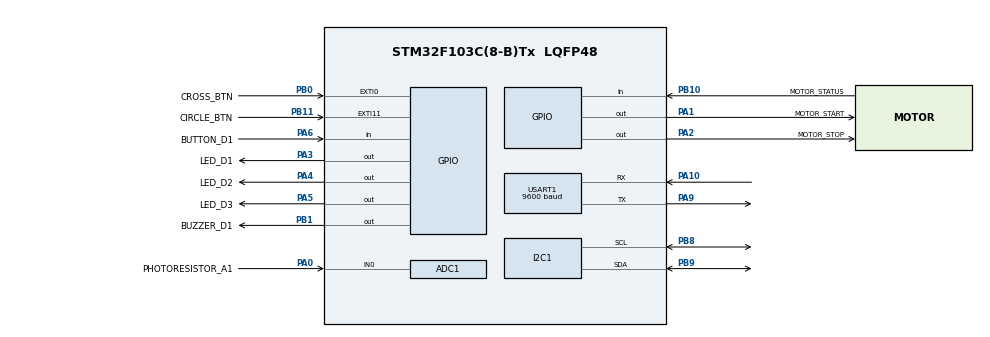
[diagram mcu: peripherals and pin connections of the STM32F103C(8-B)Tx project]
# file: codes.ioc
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ADC1.Channel-0\#ChannelRegularConversion=ADC_CHANNEL_0
ADC1.NbrOfConversionFlag=1
ADC1.Rank-0\#ChannelRegularConversion=1
ADC1.SamplingTime-0\#ChannelRegularConversion=ADC_SAMPLETIME_1CYCLE_5
ADC1.master=1
FREERTOS.Tasks01=AeratorsTask,24,128,StartAeratorsTask,Default,NULL,Dynamic,NULL,NULL;DisplayTask,8,128,StartDisplayTask,Default,NULL,Dynamic,NULL,NULL;WiFiTask,8,128,StartWiFiTask,Default,NULL,Dynamic,NULL,NULL;ButtonsTask,8,128,StartButtonsTask,Default,NULL,Dynamic,NULL,NULL
FREERTOS.configTOTAL_HEAP_SIZE=3000
I2C1.I2C_Mode=I2C_Fast
Mcu.Family=STM32F1
Mcu.Name=STM32F103C(8-B)Tx
Mcu.Package=LQFP48
NVIC.EXTI0_IRQn=true\:5\:0\:false\:false\:true\:true\:true\:true
NVIC.EXTI15_10_IRQn=true\:5\:0\:false\:false\:true\:true\:true\:true
NVIC.PriorityGroup=NVIC_PRIORITYGROUP_4
NVIC.TIM1_BRK_IRQn=true\:5\:0\:false\:false\:true\:true\:true\:true
NVIC.TIM1_UP_IRQn=true\:5\:0\:false\:false\:true\:true\:true\:true
NVIC.TIM4_IRQn=true\:0\:0\:false\:false\:true\:false\:false\:true
NVIC.TimeBase=TIM4_IRQn
NVIC.TimeBaseIP=TIM4
PA0-WKUP.GPIO_Label=PHOTORESISTOR_A1
PA0-WKUP.Signal=ADCx_IN0
PA1.GPIO_Label=MOTOR_START
PA1.Signal=GPIO_Output
PA10.Mode=Asynchronous
PA10.Signal=USART1_RX
PA13.Mode=Serial_Wire
PA13.Signal=SYS_JTMS-SWDIO
PA14.Mode=Serial_Wire
PA14.Signal=SYS_JTCK-SWCLK
PA2.GPIO_Label=MOTOR_STOP
PA2.Signal=GPIO_Output
PA3.GPIO_Label=LED_D1
PA3.Signal=GPIO_Output
PA4.GPIO_Label=LED_D2
PA4.Signal=GPIO_Output
PA5.GPIO_Label=LED_D3
PA5.Signal=GPIO_Output
PA6.GPIO_Label=BUTTON_D1
PA6.GPIO_PuPd=GPIO_PULLDOWN
PA6.Signal=GPIO_Input
PA9.Mode=Asynchronous
PA9.Signal=USART1_TX
PB0.GPIO_Label=CROSS_BTN
PB0.GPIO_PuPd=GPIO_PULLDOWN
PB0.Signal=GPXTI0
PB1.GPIO_Label=BUZZER_D1
PB1.Signal=GPIO_Output
PB10.GPIO_Label=MOTOR_STATUS
PB10.GPIO_PuPd=GPIO_PULLDOWN
PB10.Signal=GPIO_Input
PB11.GPIO_Label=CIRCLE_BTN
PB11.GPIO_PuPd=GPIO_PULLDOWN
PB11.Signal=GPXTI11
PB8.Mode=I2C
PB8.Signal=I2C1_SCL
PB9.Mode=I2C
PB9.Signal=I2C1_SDA
PC14-OSC32_IN.Mode=LSE-External-Oscillator
PC14-OSC32_IN.Signal=RCC_OSC32_IN
PC15-OSC32_OUT.Mode=LSE-External-Oscillator
PC15-OSC32_OUT.Signal=RCC_OSC32_OUT
PD0-OSC_IN.Mode=HSE-External-Oscillator
PD0-OSC_IN.Signal=RCC_OSC_IN
PD1-OSC_OUT.Mode=HSE-External-Oscillator
PD1-OSC_OUT.Signal=RCC_OSC_OUT
ProjectManager.HeapSize=0x200
ProjectManager.StackSize=0x400
ProjectManager.TargetToolchain=SW4STM32
RCC.APB1Freq_Value=8000000
RCC.APB2Freq_Value=8000000
SH.ADCx_IN0.0=ADC1_IN0,IN0
TIM1.Period=9999
TIM1.Prescaler=799
USART1.BaudRate=9600
USART1.VirtualMode=VM_ASYNC
VP_FREERTOS_VS_CMSIS_V2.Mode=CMSIS_V2
VP_SYS_VS_tim4.Mode=TIM4
VP_TIM1_VS_ClockSourceINT.Mode=Internal
board=custom

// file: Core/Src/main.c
/* USER CODE BEGIN Header */
/*
 * main.c
 * Copyright (C) Jo�o Melga <joaolucasfm@gmail.com>
 *
 * Version 1.0
 *
 * This software controls an STM32f103c8t6 microcontroller manage
 * aerators engines according to luminosity and print messages via
 * UART.
 *
 * This program is free software; you can redistribute it and/or modify
 * it under the terms of the GNU General Public License as published by
 * the Free Software Foundation; either version 2 of the Licence, or
 * (at your option) any later version.
 *
 * This program is distributed in the hope that it will be useful,
 * but WITHOUT ANY WARRANTY; without even the implied warranty of
 * MERCHANTABILITY or FITNESS FOR A PARTICULAR PURPOSE. Se the
 * GNU General Public Licence for more details.
 *
 * Created on: feb-03-2020
 *
 * This software is designed to run under STM32 System Workbench IDE + CubeMX.
 */
/* USER CODE END Header */
#include "main.h"
#include "cmsis_os.h"

/* USER CODE BEGIN Includes */
#include "eeprom.h"
#include "ssd1306.h"
#include "fonts.h"

#define ADC_RESOLUTION 3.3/4095 // 3.3 VCC divided by 2^12 = 4096, because ADC has 12bits
#define DEAFULT_LUMINOSITY_TRIGGER 3000
#define LDR_RESISTENCE_TRIGGER 5000 // Resistence in Ohms
#define MAX_MSG_GAP 750000 // 15 minutes
#define MIN_MSG_GAP 7500 // 7,5 seconds
#define ANIMATION_GAP 200
#define MOTOR_TOGGLE_MAX_TIME 3000 // 3 seconds
#define MOTOR_TOGGLE_DELAY 5000 // 5 seconds

#define ICONS_X 40
#define ICONS_Y 34
#define TEXT_Y 18

#define ERROR_STATE 0
#define MOTOR_ON_STATE 1
#define MOTOR_OFF_STATE 2
#define MOTOR_SWITCHING_ON_STATE 3
#define MOTOR_SWITCHING_OFF_STATE 4
#define MOTOR_SWITCHING_VERIFYING_STATE 5
#define BOOTING_STATE 6

#define NO_MSG 0
#define MOTOR_ON_AUTO_MSG 1
#define MOTOR_OFF_AUTO_MSG 2
#define MOTOR_ON_MANUALY_MSG 3
#define MOTOR_OFF_MANUALY_MSG 4
#define MOTOR_ERROR_MSG 5
#define AUTOMATIC_MODE_ON_MSG 6
#define AUTOMATIC_MODE_OFF_MSG 7
#define BOOTING_MSG 8

#define AERATOR_ICON 0
#define LIGHT_ICON 1
#define STARTER_ICON 2
#define RAY_ICON 3
#define PROPELLER_1_ICON 4
#define PROPELLER_2_ICON 5

#define CIRCLE_BTN 0
#define CROSS_BTN 1

#define DASHBOARD_VIEW 0
#define SETTINGS_VIEW 1

#define DISPLAY_ARROW_POSITIONS 4
#define NUMBER_OF_SETTINGS 5

/* USER CODE END Includes */

ADC_HandleTypeDef hadc1;

I2C_HandleTypeDef hi2c1;

TIM_HandleTypeDef htim1;

UART_HandleTypeDef huart1;

/* Definitions for AeratorsTask */
osThreadId_t AeratorsTaskHandle;
const osThreadAttr_t AeratorsTask_attributes = { .name = "AeratorsTask",
    .priority = (osPriority_t) osPriorityNormal, .stack_size = 128 * 4 };
/* Definitions for DisplayTask */
osThreadId_t DisplayTaskHandle;
const osThreadAttr_t DisplayTask_attributes = { .name = "DisplayTask",
    .priority = (osPriority_t) osPriorityLow, .stack_size = 128 * 4 };
/* Definitions for WiFiTask */
osThreadId_t WiFiTaskHandle;
const osThreadAttr_t WiFiTask_attributes = { .name = "WiFiTask", .priority =
    (osPriority_t) osPriorityLow, .stack_size = 128 * 4 };
/* Definitions for ButtonsTask */
osThreadId_t ButtonsTaskHandle;
const osThreadAttr_t ButtonsTask_attributes = { .name = "ButtonsTask",
    .priority = (osPriority_t) osPriorityLow, .stack_size = 128 * 4 };

/* USER CODE BEGIN PV */

/* Virtual address defined by the user: 0xFFFF value is prohibited */
uint16_t VirtAddVarTab[NB_OF_VAR] = { 0x5555 };
float relativeLuminosity = 0;
uint32_t ldrResistence = 0;
uint16_t luminosityTrigger = LDR_RESISTENCE_TRIGGER;
uint8_t motorVoltageDetected, automaticModeEnabled = 1, messageType =
BOOTING_MSG;
GPIO_PinState lowLuminosityDetected;

uint8_t state = 0;
uint32_t btnPressedFlag = 0;
uint8_t btnPressedName = CIRCLE_BTN;
uint8_t currentView = DASHBOARD_VIEW;
uint8_t arrowDisplayPosition = 0;
uint8_t arrowSettingsPosition = 0;

void HAL_GPIO_EXTI_Callback(uint16_t GPIO_Pin) {
  if (GPIO_Pin == CIRCLE_BTN_Pin)
    btnPressedName = CIRCLE_BTN;
  else if (GPIO_Pin == CROSS_BTN_Pin)
    btnPressedName = CROSS_BTN;
  else
    return;

  btnPressedFlag = 1;
}
/* USER CODE END PV */

void SystemClock_Config(void);
static void MX_GPIO_Init(void);
static void MX_ADC1_Init(void);
static void MX_TIM1_Init(void);
static void MX_USART1_UART_Init(void);
static void MX_I2C1_Init(void);
void StartAeratorsTask(void *argument);
void StartDisplayTask(void *argument);
void StartWiFiTask(void *argument);
void StartButtonsTask(void *argument);

/* USER CODE BEGIN PFP */
static uint32_t LDR_GetResistence();
static void ADC_ConfigChannel(uint32_t);
static void UART_TransmitMessage(char *);
static void SSD1306_PutIcon(uint8_t, uint8_t, uint8_t, uint8_t);
static void SSD1306_PutHeaderButtons(char*, char*);
/* USER CODE END PFP */

/* USER CODE BEGIN 0 */
// StateMachine stateMachine;
/* USER CODE END 0 */

int main(void) {

  /* MCU Configuration--------------------------------------------------------*/

  /* Reset of all peripherals, Initializes the Flash interface and the Systick. */
  HAL_Init();

  /* Configure the system clock */
  SystemClock_Config();

  /* USER CODE BEGIN SysInit */
  HAL_FLASH_Unlock();
  EE_Init();
  /* USER CODE END SysInit */

  /* Initialize all configured peripherals */
  MX_GPIO_Init();
  MX_ADC1_Init();
  MX_TIM1_Init();
  MX_USART1_UART_Init();
  MX_I2C1_Init();
  /* USER CODE BEGIN 2 */

  EE_ReadVariable(VirtAddVarTab[0], &luminosityTrigger);
  /* USER CODE END 2 */

  /* Init scheduler */
  osKernelInitialize();

  /* Create the thread(s) */
  /* creation of AeratorsTask */
  AeratorsTaskHandle = osThreadNew(StartAeratorsTask, NULL,
      &AeratorsTask_attributes);

  /* creation of DisplayTask */
  DisplayTaskHandle = osThreadNew(StartDisplayTask, NULL,
      &DisplayTask_attributes);

  /* creation of WiFiTask */
  WiFiTaskHandle = osThreadNew(StartWiFiTask, NULL, &WiFiTask_attributes);

  /* creation of ButtonsTask */
  ButtonsTaskHandle = osThreadNew(StartButtonsTask, NULL,
      &ButtonsTask_attributes);

  /* Start scheduler */
  osKernelStart();

  /* We should never get here as control is now taken by the scheduler */
  /* Infinite loop */
  /* USER CODE BEGIN WHILE */
  while (1) {

    /* if ((messageType != NO_MSG && timePassedSinceLastMsg > MIN_MSG_GAP) || timePassedSinceLastMsg > MAX_MSG_GAP) {
     char* message;
     sprintf(&message, " Motor1,%i,%i,%i,%i,%i,%i ", messageType, motorVoltageDetected, luminosity, luminosityTrigger, automaticModeEnabled, state);

     UART_TransmitMessage(message);
     HAL_Delay(1000);

     messageType = NO_MSG;
     lastMsgTimestamp = HAL_GetTick();
     } */

    /* USER CODE END WHILE */

  }
}

void SystemClock_Config(void) {
  RCC_OscInitTypeDef RCC_OscInitStruct = { 0 };
  RCC_ClkInitTypeDef RCC_ClkInitStruct = { 0 };
  RCC_PeriphCLKInitTypeDef PeriphClkInit = { 0 };

  /** Initializes the RCC Oscillators according to the specified parameters
   * in the RCC_OscInitTypeDef structure.
   */
  RCC_OscInitStruct.OscillatorType = RCC_OSCILLATORTYPE_HSI;
  RCC_OscInitStruct.HSIState = RCC_HSI_ON;
  RCC_OscInitStruct.HSICalibrationValue = RCC_HSICALIBRATION_DEFAULT;
  RCC_OscInitStruct.PLL.PLLState = RCC_PLL_NONE;
  if (HAL_RCC_OscConfig(&RCC_OscInitStruct) != HAL_OK) {
    Error_Handler();
  }
  /** Initializes the CPU, AHB and APB buses clocks
   */
  RCC_ClkInitStruct.ClockType = RCC_CLOCKTYPE_HCLK | RCC_CLOCKTYPE_SYSCLK
      | RCC_CLOCKTYPE_PCLK1 | RCC_CLOCKTYPE_PCLK2;
  RCC_ClkInitStruct.SYSCLKSource = RCC_SYSCLKSOURCE_HSI;
  RCC_ClkInitStruct.AHBCLKDivider = RCC_SYSCLK_DIV1;
  RCC_ClkInitStruct.APB1CLKDivider = RCC_HCLK_DIV1;
  RCC_ClkInitStruct.APB2CLKDivider = RCC_HCLK_DIV1;

  if (HAL_RCC_ClockConfig(&RCC_ClkInitStruct, FLASH_LATENCY_0) != HAL_OK) {
    Error_Handler();
  }
  PeriphClkInit.PeriphClockSelection = RCC_PERIPHCLK_ADC;
  PeriphClkInit.AdcClockSelection = RCC_ADCPCLK2_DIV2;
  if (HAL_RCCEx_PeriphCLKConfig(&PeriphClkInit) != HAL_OK) {
    Error_Handler();
  }
}

static void MX_ADC1_Init(void) {

  ADC_ChannelConfTypeDef sConfig = { 0 };

  /** Common config
   */
  hadc1.Instance = ADC1;
  hadc1.Init.ScanConvMode = ADC_SCAN_DISABLE;
  hadc1.Init.ContinuousConvMode = DISABLE;
  hadc1.Init.DiscontinuousConvMode = DISABLE;
  hadc1.Init.ExternalTrigConv = ADC_SOFTWARE_START;
  hadc1.Init.DataAlign = ADC_DATAALIGN_RIGHT;
  hadc1.Init.NbrOfConversion = 1;
  if (HAL_ADC_Init(&hadc1) != HAL_OK) {
    Error_Handler();
  }
  /** Configure Regular Channel
   */
  sConfig.Channel = ADC_CHANNEL_0;
  sConfig.Rank = ADC_REGULAR_RANK_1;
  sConfig.SamplingTime = ADC_SAMPLETIME_1CYCLE_5;
  if (HAL_ADC_ConfigChannel(&hadc1, &sConfig) != HAL_OK) {
    Error_Handler();
  }

}

static void MX_I2C1_Init(void) {

  hi2c1.Instance = I2C1;
  hi2c1.Init.ClockSpeed = 400000;
  hi2c1.Init.DutyCycle = I2C_DUTYCYCLE_2;
  hi2c1.Init.OwnAddress1 = 0;
  hi2c1.Init.AddressingMode = I2C_ADDRESSINGMODE_7BIT;
  hi2c1.Init.DualAddressMode = I2C_DUALADDRESS_DISABLE;
  hi2c1.Init.OwnAddress2 = 0;
  hi2c1.Init.GeneralCallMode = I2C_GENERALCALL_DISABLE;
  hi2c1.Init.NoStretchMode = I2C_NOSTRETCH_DISABLE;
  if (HAL_I2C_Init(&hi2c1) != HAL_OK) {
    Error_Handler();
  }

}

static void MX_TIM1_Init(void) {

  TIM_ClockConfigTypeDef sClockSourceConfig = { 0 };
  TIM_MasterConfigTypeDef sMasterConfig = { 0 };

  htim1.Instance = TIM1;
  htim1.Init.Prescaler = 799;
  htim1.Init.CounterMode = TIM_COUNTERMODE_UP;
  htim1.Init.Period = 9999;
  htim1.Init.ClockDivision = TIM_CLOCKDIVISION_DIV1;
  htim1.Init.RepetitionCounter = 0;
  htim1.Init.AutoReloadPreload = TIM_AUTORELOAD_PRELOAD_DISABLE;
  if (HAL_TIM_Base_Init(&htim1) != HAL_OK) {
    Error_Handler();
  }
  sClockSourceConfig.ClockSource = TIM_CLOCKSOURCE_INTERNAL;
  if (HAL_TIM_ConfigClockSource(&htim1, &sClockSourceConfig) != HAL_OK) {
    Error_Handler();
  }
  sMasterConfig.MasterOutputTrigger = TIM_TRGO_RESET;
  sMasterConfig.MasterSlaveMode = TIM_MASTERSLAVEMODE_DISABLE;
  if (HAL_TIMEx_MasterConfigSynchronization(&htim1, &sMasterConfig) != HAL_OK) {
    Error_Handler();
  }

}

static void MX_USART1_UART_Init(void) {

  huart1.Instance = USART1;
  huart1.Init.BaudRate = 9600;
  huart1.Init.WordLength = UART_WORDLENGTH_8B;
  huart1.Init.StopBits = UART_STOPBITS_1;
  huart1.Init.Parity = UART_PARITY_NONE;
  huart1.Init.Mode = UART_MODE_TX_RX;
  huart1.Init.HwFlowCtl = UART_HWCONTROL_NONE;
  huart1.Init.OverSampling = UART_OVERSAMPLING_16;
  if (HAL_UART_Init(&huart1) != HAL_OK) {
    Error_Handler();
  }

}

static void MX_GPIO_Init(void) {
  GPIO_InitTypeDef GPIO_InitStruct = { 0 };

  /* GPIO Ports Clock Enable */
  __HAL_RCC_GPIOC_CLK_ENABLE()
  ;
  __HAL_RCC_GPIOD_CLK_ENABLE()
  ;
  __HAL_RCC_GPIOA_CLK_ENABLE()
  ;
  __HAL_RCC_GPIOB_CLK_ENABLE()
  ;

  /*Configure GPIO pin Output Level */
  HAL_GPIO_WritePin(GPIOA,
  MOTOR_START_Pin | MOTOR_STOP_Pin | LED_D1_Pin | LED_D2_Pin | LED_D3_Pin,
      GPIO_PIN_RESET);

  /*Configure GPIO pin Output Level */
  HAL_GPIO_WritePin(BUZZER_D1_GPIO_Port, BUZZER_D1_Pin, GPIO_PIN_RESET);

  /*Configure GPIO pins : MOTOR_START_Pin MOTOR_STOP_Pin LED_D1_Pin LED_D2_Pin
   LED_D3_Pin */
  GPIO_InitStruct.Pin = MOTOR_START_Pin | MOTOR_STOP_Pin | LED_D1_Pin
      | LED_D2_Pin | LED_D3_Pin;
  GPIO_InitStruct.Mode = GPIO_MODE_OUTPUT_PP;
  GPIO_InitStruct.Pull = GPIO_NOPULL;
  GPIO_InitStruct.Speed = GPIO_SPEED_FREQ_LOW;
  HAL_GPIO_Init(GPIOA, &GPIO_InitStruct);

  /*Configure GPIO pin : BUTTON_D1_Pin */
  GPIO_InitStruct.Pin = BUTTON_D1_Pin;
  GPIO_InitStruct.Mode = GPIO_MODE_INPUT;
  GPIO_InitStruct.Pull = GPIO_PULLDOWN;
  HAL_GPIO_Init(BUTTON_D1_GPIO_Port, &GPIO_InitStruct);

  /*Configure GPIO pins : CROSS_BTN_Pin CIRCLE_BTN_Pin */
  GPIO_InitStruct.Pin = CROSS_BTN_Pin | CIRCLE_BTN_Pin;
  GPIO_InitStruct.Mode = GPIO_MODE_IT_RISING;
  GPIO_InitStruct.Pull = GPIO_PULLDOWN;
  HAL_GPIO_Init(GPIOB, &GPIO_InitStruct);

  /*Configure GPIO pin : BUZZER_D1_Pin */
  GPIO_InitStruct.Pin = BUZZER_D1_Pin;
  GPIO_InitStruct.Mode = GPIO_MODE_OUTPUT_PP;
  GPIO_InitStruct.Pull = GPIO_NOPULL;
  GPIO_InitStruct.Speed = GPIO_SPEED_FREQ_LOW;
  HAL_GPIO_Init(BUZZER_D1_GPIO_Port, &GPIO_InitStruct);

  /*Configure GPIO pin : MOTOR_STATUS_Pin */
  GPIO_InitStruct.Pin = MOTOR_STATUS_Pin;
  GPIO_InitStruct.Mode = GPIO_MODE_INPUT;
  GPIO_InitStruct.Pull = GPIO_PULLDOWN;
  HAL_GPIO_Init(MOTOR_STATUS_GPIO_Port, &GPIO_InitStruct);

  /* EXTI interrupt init*/
  HAL_NVIC_SetPriority(EXTI0_IRQn, 5, 0);
  HAL_NVIC_EnableIRQ(EXTI0_IRQn);

  HAL_NVIC_SetPriority(EXTI15_10_IRQn, 5, 0);
  HAL_NVIC_EnableIRQ(EXTI15_10_IRQn);

}

/* USER CODE BEGIN 4 */
static void MOTOR_WriteState() {
  switch (state) {
  case MOTOR_SWITCHING_ON_STATE:
    HAL_GPIO_WritePin(GPIOA, MOTOR_START_Pin, GPIO_PIN_RESET);
    HAL_GPIO_WritePin(GPIOA, MOTOR_STOP_Pin, GPIO_PIN_SET);
    break;

  case MOTOR_SWITCHING_OFF_STATE:
    HAL_GPIO_WritePin(GPIOA, MOTOR_START_Pin, GPIO_PIN_SET);
    HAL_GPIO_WritePin(GPIOA, MOTOR_STOP_Pin, GPIO_PIN_RESET);
    break;

  default:
    HAL_GPIO_WritePin(GPIOA, MOTOR_START_Pin, GPIO_PIN_SET);
    HAL_GPIO_WritePin(GPIOA, MOTOR_STOP_Pin, GPIO_PIN_SET);
    break;
  }
}

static uint32_t LDR_GetResistence() {
  uint32_t adcValue = 0, resistence;
  float serieResistorTension;

  if (HAL_ADC_GetState(&hadc1) != HAL_ADC_STATE_REG_BUSY) {
    ADC_ConfigChannel(ADC_CHANNEL_0);
    HAL_ADC_Start(&hadc1);

    if (HAL_ADC_PollForConversion(&hadc1, 100) == HAL_OK)
      adcValue = HAL_ADC_GetValue(&hadc1);

    HAL_ADC_Stop(&hadc1);
  }

  serieResistorTension = adcValue * ADC_RESOLUTION;
  resistence = ((3.3 * 10000) / serieResistorTension) - 10000;
  return resistence >= 0 ? resistence : 0;
}

static void ADC_ConfigChannel(uint32_t channel) {
  ADC_ChannelConfTypeDef sConfig;
  sConfig.Channel = channel;
  sConfig.Rank = 1;
  sConfig.SamplingTime = ADC_SAMPLETIME_1CYCLE_5;

  if (HAL_ADC_ConfigChannel(&hadc1, &sConfig) != HAL_OK)
    Error_Handler();
}

static void UART_TransmitMessage(char *message) {
  HAL_UART_Transmit(&huart1, (uint8_t*) message, strlen(message), 1000);
}

static void SSD1306_PutIcon(uint8_t x, uint8_t y, uint8_t icon, uint8_t color) {
  switch (icon) {
  case AERATOR_ICON:
    SSD1306_DrawFilledRectangle(x + 7, y + 0, 8, 10, color);
    SSD1306_DrawRectangle(x + 7, y + 6, 8, 12, color);
    SSD1306_DrawFilledRectangle(x + 0, y + 16, 22, 4, color);
    SSD1306_DrawLine(x + 11, y + 12, x + 11, y + 28, color);
    break;

  case LIGHT_ICON:
    SSD1306_DrawLine(x + 2, y + 2, x + 22, y + 22, color);
    SSD1306_DrawLine(x + 22, y + 2, x + 2, y + 22, color);
    SSD1306_DrawLine(x + 12, y + 0, x + 12, y + 24, color);
    SSD1306_DrawLine(x + 0, y + 12, x + 24, y + 12, color);
    SSD1306_DrawFilledCircle(x + 12, y + 12, 8, !color);
    SSD1306_DrawFilledCircle(x + 12, y + 12, 6, color);
    break;

  case STARTER_ICON:
    SSD1306_DrawRectangle(x, y, 16, 24, color);
    SSD1306_DrawCircle(x + 5, y + 7, 2, color);
    SSD1306_DrawFilledCircle(x + 5, y + 14, 2, color);
    break;

  case PROPELLER_1_ICON:
    SSD1306_DrawTriangle(x - 2, y, x - 6, y - 2, x - 6, y + 2, color);
    SSD1306_DrawTriangle(x + 2, y, x + 6, y - 2, x + 6, y + 2, color);
    break;

  case PROPELLER_2_ICON:
    SSD1306_DrawTriangle(x - 2, y, x - 4, y - 2, x - 4, y + 2, color);
    SSD1306_DrawTriangle(x + 2, y, x + 4, y - 2, x + 4, y + 2, color);
    break;
  }
}

static void SSD1306_PutHeaderButtons(char *text1, char *text2) {
#define BUTTONS_X 0
#define BUTTONS_Y 0
#define BUTTON_X_OFFSET_1 (BUTTONS_X + 64)

  SSD1306_DrawFilledRectangle(BUTTONS_X + 0, BUTTONS_Y + 0,
  BUTTON_X_OFFSET_1 - 3, 12, 1);
  SSD1306_DrawFilledCircle(BUTTONS_X + 5, BUTTONS_Y + 6, 4, 0);
  SSD1306_GotoXY(BUTTONS_X + 12, BUTTONS_Y + 3);
  SSD1306_Puts(text1, &Font_7x10, 0);

  SSD1306_DrawFilledRectangle(BUTTON_X_OFFSET_1 + 0, BUTTONS_Y + 0,
      128 - BUTTON_X_OFFSET_1, 12, 1);
  SSD1306_DrawLine(BUTTON_X_OFFSET_1 + 2 + 1, BUTTONS_Y + 3 + 0,
  BUTTON_X_OFFSET_1 + 2 + 7, BUTTONS_Y + 3 + 6, 0);
  SSD1306_DrawLine(BUTTON_X_OFFSET_1 + 2 + 1, BUTTONS_Y + 3 + 1,
  BUTTON_X_OFFSET_1 + 2 + 6, BUTTONS_Y + 3 + 6, 0);
  SSD1306_DrawLine(BUTTON_X_OFFSET_1 + 2 + 0, BUTTONS_Y + 3 + 1,
  BUTTON_X_OFFSET_1 + 2 + 6, BUTTONS_Y + 3 + 7, 0);
  SSD1306_DrawLine(BUTTON_X_OFFSET_1 + 2 + 0, BUTTONS_Y + 3 + 6,
  BUTTON_X_OFFSET_1 + 2 + 6, BUTTONS_Y + 3 + 0, 0);
  SSD1306_DrawLine(BUTTON_X_OFFSET_1 + 2 + 1, BUTTONS_Y + 3 + 6,
  BUTTON_X_OFFSET_1 + 2 + 6, BUTTONS_Y + 3 + 1, 0);
  SSD1306_DrawLine(BUTTON_X_OFFSET_1 + 2 + 1, BUTTONS_Y + 3 + 7,
  BUTTON_X_OFFSET_1 + 2 + 7, BUTTONS_Y + 3 + 1, 0);
  SSD1306_GotoXY(BUTTON_X_OFFSET_1 + 12, BUTTONS_Y + 3);
  SSD1306_Puts(text2, &Font_7x10, 0);
}
/* USER CODE END 4 */

void StartAeratorsTask(void *argument) {
  /* USER CODE BEGIN 5 */
  GPIO_PinState lowLuminosityDetected;
  uint32_t timeSinceLastMotorToggle = HAL_GetTick();
  uint32_t lastMotorToggleTimestamp = 0;

  /* Infinite loop */
  for (;;) {
    ldrResistence = LDR_GetResistence();
    relativeLuminosity = (relativeLuminosity * 19
        + (float) luminosityTrigger / ldrResistence) / 20;
    motorVoltageDetected = HAL_GPIO_ReadPin(GPIOB, MOTOR_STATUS_Pin);

    lowLuminosityDetected =
        motorVoltageDetected ?
            (relativeLuminosity > 1.1 ? GPIO_PIN_RESET : GPIO_PIN_SET) :
            (relativeLuminosity < 0.9 ? GPIO_PIN_SET : GPIO_PIN_RESET);

    timeSinceLastMotorToggle = HAL_GetTick() - lastMotorToggleTimestamp;

    switch (state) {
    case BOOTING_STATE:
      MOTOR_WriteState();
      state = motorVoltageDetected ? MOTOR_ON_STATE : MOTOR_OFF_STATE;
      break;

    case MOTOR_ON_STATE:
      MOTOR_WriteState();

      if (!motorVoltageDetected)
        state = MOTOR_OFF_STATE;
      else if (automaticModeEnabled && !lowLuminosityDetected) {
        lastMotorToggleTimestamp = HAL_GetTick();
        state = MOTOR_SWITCHING_OFF_STATE;
      }

      break;

    case MOTOR_OFF_STATE:
      MOTOR_WriteState();

      if (motorVoltageDetected)
        state = MOTOR_ON_STATE;
      else if (automaticModeEnabled && lowLuminosityDetected) {
        lastMotorToggleTimestamp = HAL_GetTick();
        state = MOTOR_SWITCHING_ON_STATE;
      }

      break;

    case MOTOR_SWITCHING_ON_STATE:
      if (motorVoltageDetected)
        state = MOTOR_ON_STATE;

      else if (timeSinceLastMotorToggle
          > MOTOR_TOGGLE_MAX_TIME + MOTOR_TOGGLE_DELAY)
        state = ERROR_STATE;

      else if (timeSinceLastMotorToggle > MOTOR_TOGGLE_DELAY)
        MOTOR_WriteState();

      break;

    case MOTOR_SWITCHING_OFF_STATE:
      if (!motorVoltageDetected)
        state = MOTOR_OFF_STATE;

      else if (timeSinceLastMotorToggle
          > MOTOR_TOGGLE_MAX_TIME + MOTOR_TOGGLE_DELAY)
        state = ERROR_STATE;

      else if (timeSinceLastMotorToggle > MOTOR_TOGGLE_DELAY)
        MOTOR_WriteState();

      break;

    case ERROR_STATE:
      MOTOR_WriteState();

      if (!automaticModeEnabled)
        state = BOOTING_STATE;
      else if (!motorVoltageDetected && !lowLuminosityDetected)
        state = MOTOR_OFF_STATE;
      else if (motorVoltageDetected && lowLuminosityDetected)
        state = MOTOR_ON_STATE;
      break;
    }

    osDelay(20);
  }
  /* USER CODE END 5 */
}

void StartDisplayTask(void *argument) {
  /* USER CODE BEGIN StartDisplayTask */
  uint8_t propellerFrame = 0;
  uint8_t starterFrame = 0;
  char displayText[50];

  SSD1306_Init();
  SSD1306_ToggleOpposed();

  SSD1306_DrawFilledRectangle(0, 0, 128, 64, 1);
  SSD1306_GotoXY(17, 20);
  SSD1306_Puts("Aerators", &Font_11x18, 0);
  SSD1306_GotoXY(7, 39);
  SSD1306_Puts("Controller", &Font_11x18, 1);

  SSD1306_UpdateScreen();
  osDelay(2000);
  SSD1306_DrawFilledRectangle(0, 0, 128, 64, 0);

  // Print icons and buttons
  SSD1306_PutIcon(12, ICONS_Y, STARTER_ICON, 1);
  SSD1306_PutIcon(53, ICONS_Y, AERATOR_ICON, 1);
  SSD1306_PutIcon(96, ICONS_Y, LIGHT_ICON, 1);

  // Print
  SSD1306_PutHeaderButtons("Modo", "Calibr.");

  SSD1306_UpdateScreen();

  /* Infinite loop */
  for (;;) {
    // switch (currentView) {
    // case DASHBOARD_VIEW: {
    SSD1306_DrawFilledRectangle(0, TEXT_Y, 128, ICONS_Y - TEXT_Y - 1, 0);

    SSD1306_GotoXY(9, TEXT_Y);
    SSD1306_Puts(automaticModeEnabled ? "Auto" : "Man.", &Font_7x10, 1);

    SSD1306_GotoXY(53, TEXT_Y);
    SSD1306_Puts(motorVoltageDetected ? "Lig." : "Des.", &Font_7x10, 1);

    sprintf(displayText, "%i%%", (int) (relativeLuminosity * 100));
    SSD1306_GotoXY(96, TEXT_Y);
    SSD1306_Puts(displayText, &Font_7x10, 1);

    if (motorVoltageDetected)
      propellerFrame = (propellerFrame + 1) % 4;

    if (state == MOTOR_SWITCHING_ON_STATE || state == MOTOR_SWITCHING_OFF_STATE
        || state == ERROR_STATE) {
      starterFrame = !starterFrame;
      SSD1306_PutIcon(12, ICONS_Y, STARTER_ICON, starterFrame);
    } else
      SSD1306_PutIcon(12, ICONS_Y, STARTER_ICON, 1);

    switch (propellerFrame) {
    case 0:
      SSD1306_PutIcon(64, 60, PROPELLER_2_ICON, 0);
      SSD1306_PutIcon(64, 60, PROPELLER_1_ICON, 1);
      break;

    case 1:
      SSD1306_PutIcon(64, 60, PROPELLER_1_ICON, 0);
      SSD1306_PutIcon(64, 60, PROPELLER_2_ICON, 1);
      break;

    case 2:
      SSD1306_PutIcon(64, 60, PROPELLER_2_ICON, 0);
      break;

    case 3:
      SSD1306_PutIcon(64, 60, PROPELLER_2_ICON, 1);
      break;

    }

    SSD1306_UpdateScreen();
    osDelay(150);
    /* case SETTINGS_VIEW:
     {

     }
     }
     } */
    /* USER CODE END StartDisplayTask */
  }
}

void StartWiFiTask(void *argument) {
  for (;;) {
    osDelay(1);
  }
}

void StartButtonsTask(void *argument) {
  /* USER CODE BEGIN StartButtonsTask */
  /* Infinite loop */
  for (;;) {
    // osThreadFlagsWait(btnPressedFlag, osFlagsWaitAny, osWaitForever);

    if (btnPressedFlag) {
      // switch (currentView) {
      // case DASHBOARD_VIEW: {
      if (btnPressedName == CIRCLE_BTN)
        automaticModeEnabled = !automaticModeEnabled;
      else {
        luminosityTrigger = ldrResistence;
        EE_WriteVariable(VirtAddVarTab[0], luminosityTrigger);
        osDelay(200);

        /* currentView = SETTINGS_VIEW;
         }
         break;
         }
         }
         case SETTINGS_VIEW: {
         if (btnPressedName == CIRCLE_BTN) {
         switch (arrowSettingsPosition) {
         case LUMINOSITY_TRIGGER_POSITION: {
         luminosityTrigger = ldrResistence;
         EE_WriteVariable(VirtAddVarTab[0], luminosityTrigger);
         osDelay(200);
         }
         }
         } else { // CROSS_BTN
         if (arrowDisplayPosition + 1 < DISPLAY_ARROW_POSITIONS)
         arrowDisplayPosition = (arrowDisplayPosition + 1)
         % DISPLAY_ARROW_POSITIONS;

         if (arrowSettingsPosition + 1 < NUMBER_OF_SETTINGS)
         arrowSettingsPosition = (arrowSettingsPosition + 1)
         % NUMBER_OF_SETTINGS;
         else {
         arrowDisplayPosition = 0;
         arrowSettingsPosition = 0;
         currentView = DASHBOARD_VIEW;
         }
         }

         break;
         }
         }
         }

         // btnPressedFlag = 0;

         if (HAL_GPIO_ReadPin(GPIOB, BUTTON_D3_Pin)) {
         luminosityTrigger = ldrResistence;
         EE_WriteVariable(VirtAddVarTab[0], luminosityTrigger);

         osDelay(200);
         while (HAL_GPIO_ReadPin(GPIOB, BUTTON_D3_Pin))
         osDelay(10);

         } else if (HAL_GPIO_ReadPin(GPIOB, BUTTON_D2_Pin)) {
         automaticModeEnabled = !automaticModeEnabled;

         osDelay(200);
         while (HAL_GPIO_ReadPin(GPIOB, BUTTON_D2_Pin))
         osDelay(10);
         } */
      }

      osDelay(100);
      btnPressedFlag = 0;
    } else
      osDelay(100);
  }
  /* USER CODE END StartButtonsTask */

}

void HAL_TIM_PeriodElapsedCallback(TIM_HandleTypeDef *htim) {
  if (htim->Instance == TIM4) {
    HAL_IncTick();
  }
}

void Error_Handler(void) {
  __disable_irq();
  while (1) {
  }
}

/************************ (C) COPYRIGHT STMicroelectronics *****END OF FILE****/
